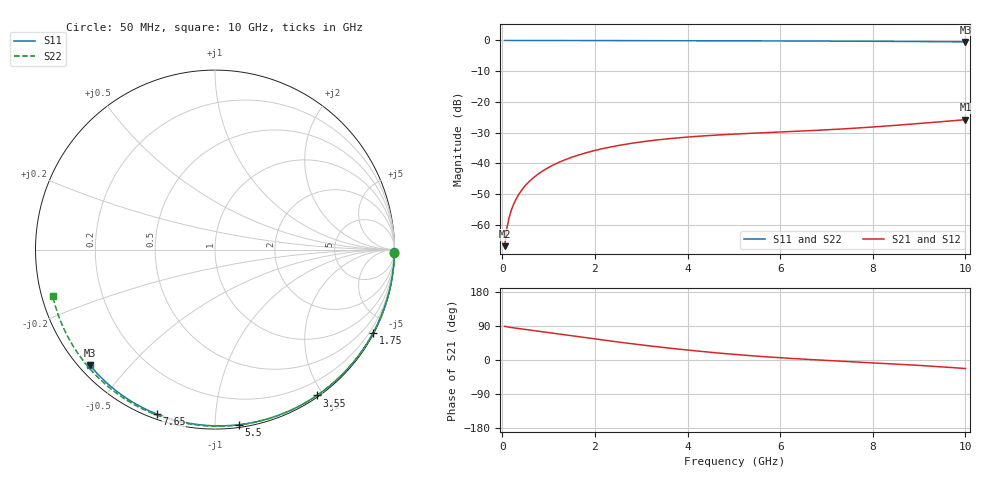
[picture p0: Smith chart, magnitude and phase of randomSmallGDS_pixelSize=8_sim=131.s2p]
! freq	dB(S11)	phase(S11)	dB(S12)	phase(S12)
!  dB(S21)	phase(S21)	dB(S22)	phase(S22)
!S-par simulation data
#  GHz  S  DB  R 50
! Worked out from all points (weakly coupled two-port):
!   200 points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, 50 MHz to 10 GHz, reference 50 ohm
!   highest |S21| = -25.80 dB at 10 GHz (marker M1); lowest = -67.0 dB at 50 MHz (marker M2)
!   lowest |S11| = -0.5 dB at 10 GHz (marker M3), VSWR 37.75, Z = 1.53 - j19.5 ohm
!   |S11| at or under -10 dB: nowhere
!   |S22| runs from -0.5 to 0.0 dB; largest |S21 - S12| = 0
!   S11 on the Smith chart (normalised r, x): 50 MHz: open; 1.75 GHz: 0.04, -4.04; 3.55 GHz: 0.02, -1.92; 5.5 GHz: 0.02, -1.15; 7.65 GHz: 0.02, -0.71; 10 GHz: 0.03, -0.39
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0.05  -0.00 -0.8  -66.98 88.7  -66.98 88.7  -0.00 -1.0
0.1  -0.00 -1.6  -60.99 87.6  -60.99 87.6  -0.00 -2.0
0.15  -0.00 -2.4  -57.51 86.6  -57.51 86.6  -0.00 -2.9
0.2  -0.00 -3.2  -55.05 85.6  -55.05 85.6  -0.00 -3.9
0.25  -0.00 -4.0  -53.15 84.8  -53.15 84.8  -0.00 -4.9
0.35  -0.00 -5.7  -50.27 83.1  -50.27 83.1  -0.01 -6.9
0.5  -0.01 -8.1  -47.22 80.6  -47.22 80.6  -0.01 -9.8
0.7  -0.01 -11.3  -44.36 77.2  -44.36 77.2  -0.02 -13.6
1  -0.02 -16.0  -41.35 72.1  -41.35 72.1  -0.02 -19.4
1.35  -0.03 -21.6  -38.88 66.1  -38.88 66.1  -0.03 -26.1
1.75  -0.04 -27.8  -36.83 59.5  -36.83 59.5  -0.04 -33.6
2.6  -0.05 -40.9  -33.95 45.9  -33.95 45.9  -0.06 -49.3
3.4  -0.07 -52.8  -32.30 34.2  -32.30 34.2  -0.09 -63.4
3.55  -0.08 -55.0  -32.06 32.1  -32.06 32.1  -0.09 -66.0
4.3  -0.10 -65.8  -31.12 22.6  -31.12 22.6  -0.11 -78.7
5.05  -0.12 -76.2  -30.46 14.4  -30.46 14.4  -0.14 -90.9
5.5  -0.14 -82.2  -30.14 10.1  -30.14 10.1  -0.16 -97.9
6.7  -0.19 -97.8  -29.33 0.9  -29.33 0.9  -0.23 -116.1
7.65  -0.25 -109.5  -28.53 -5.1  -28.53 -5.1  -0.29 -130.0
8.35  -0.30 -118.0  -27.80 -9.6  -27.80 -9.6  -0.35 -140.1
9.2  -0.38 -128.0  -26.80 -15.8  -26.80 -15.8  -0.44 -152.3
10  -0.46 -137.4  -25.80 -22.5  -25.80 -22.5  -0.53 -163.9
